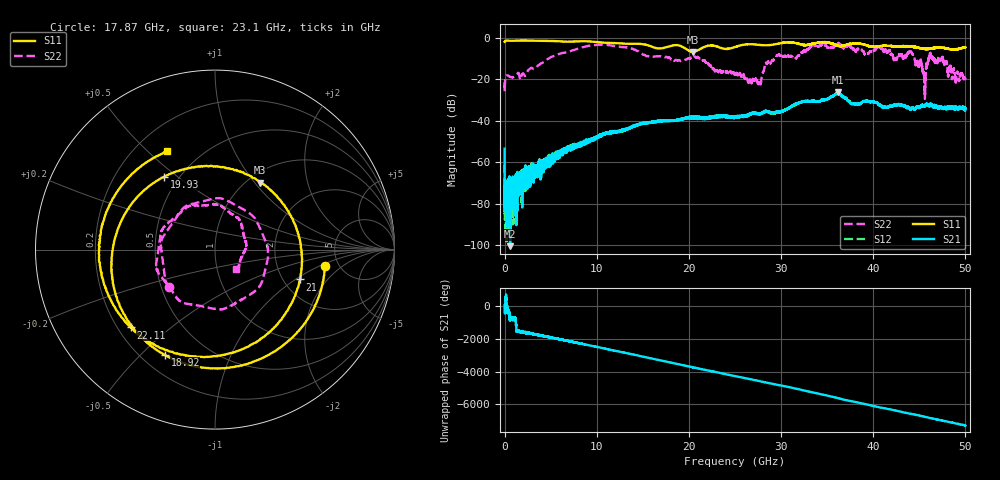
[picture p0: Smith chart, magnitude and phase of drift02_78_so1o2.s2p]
!Created with skrf (http://scikit-rf.org).
# Hz S RI R 50.0
!freq ReS11 ImS11 ReS21 ImS21 ReS12 ImS12 ReS22 ImS22
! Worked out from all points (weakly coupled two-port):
!   10001 points, 300 kHz to 50 GHz, reference 50 ohm
!   highest |S21| = -26.30 dB at 36.13 GHz (marker M1); lowest = -100.6 dB at 595.3 MHz (marker M2)
!   lowest |S11| = -6.9 dB at 20.43 GHz (marker M3), VSWR 2.64, Z = 57 + j53.5 ohm
!   |S11| at or under -10 dB: nowhere
!   |S22| runs from -29.5 to -2.5 dB; largest |S21 - S12| = 0.005
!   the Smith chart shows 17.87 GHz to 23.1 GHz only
!   S11 on the Smith chart (normalised r, x): 17.87 GHz: 3.91, -1.13; 18.92 GHz: 0.29, -0.59; 19.93 GHz: 0.42, +0.45; 21 GHz: 2.46, -1.10; 22.11 GHz: 0.25, -0.37; 23.1 GHz: 0.33, +0.58
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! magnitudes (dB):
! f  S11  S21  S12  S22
! 300 kHz  -2.0  -53.6  -61.5  -21.6
! 255.3 MHz  -1.4  -80.3  -79.7  -18.2
! 595.3 MHz  -1.5  -100.6  -76.8  -18.9
! 8.335 GHz  -1.7  -51.3  -51.3  -4.8
! 16.67 GHz  -5.2  -40.2  -40.1  -9.0
! 17.87 GHz  -4.2  -40.1  -40.1  -9.7
! 18.92 GHz  -3.7  -39.6  -39.6  -10.8
! 19.93 GHz  -6.1  -38.5  -38.6  -9.8
! 20.43 GHz  -6.9  -38.7  -38.6  -9.8
! 21 GHz  -6.0  -38.8  -38.7  -9.4
! 22.11 GHz  -3.9  -38.8  -38.7  -12.8
! 23.1 GHz  -4.3  -37.4  -38.0  -15.9
! 25 GHz  -4.5  -38.3  -37.9  -17.7
! 27.63 GHz  -3.5  -36.8  -36.8  -21.5
! 29.54 GHz  -3.1  -35.9  -35.9  -8.8
! 33.34 GHz  -3.0  -30.6  -30.6  -3.8
! 36.13 GHz  -3.9  -26.3  -27.0  -3.2
! 41.67 GHz  -3.9  -33.2  -33.3  -6.1
! 44.13 GHz  -4.2  -34.5  -34.3  -7.1
! 45.5 GHz  -5.3  -32.8  -33.2  -17.6
! 46.28 GHz  -5.2  -32.0  -32.2  -8.9
! 50 GHz  -4.7  -34.0  -34.1  -19.8
